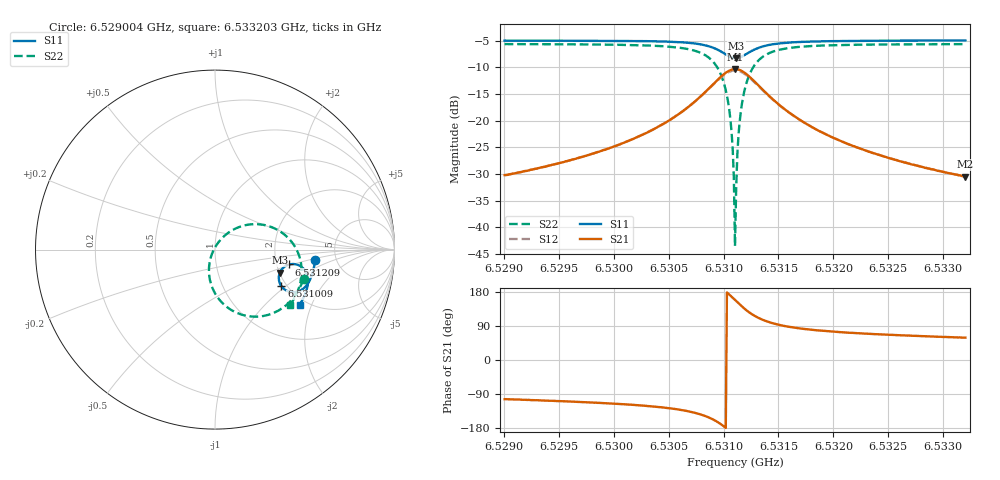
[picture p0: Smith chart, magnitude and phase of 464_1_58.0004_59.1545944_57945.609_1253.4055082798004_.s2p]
#  HZ  S  RI  R  50.00
! Rohde & Schwarz Vector Network Analyzer
! Rohde-Schwarz,ZNB20-2Port,1311601062101988,3.16
! Created: UTC 3/21/2024, 1:11:05 AM
! freq[Hz]  re:S11  im:S11  re:S21  im:S21  re:S12  im:S12  re:S22  im:S22
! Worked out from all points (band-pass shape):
!   401 points, 6.529004 GHz to 6.533203 GHz, reference 50 ohm
!   highest |S21| = -10.38 dB at 6.531104 GHz (marker M1); lowest = -30.5 dB at 6.533203 GHz (marker M2)
!   |S21| within 3 dB of the highest: 6.530895 GHz to 6.531315 GHz (419.3 kHz wide, 0.00642 % of centre)
!   lowest |S11| = -8.3 dB at 6.531114 GHz (marker M3), VSWR 2.24, Z = 101 - j30.2 ohm
!   |S11| at or under -10 dB: nowhere
!   |S22| runs from -43.6 to -5.7 dB; largest |S21 - S12| = 0.012
!   S11 on the Smith chart (normalised r, x): 6.529004 GHz: 3.44, -0.61; 6.531009 GHz: 1.87, -0.93; 6.531209 GHz: 2.34, -0.47; 6.533203 GHz: 1.82, -1.64
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6.5290042e9  0.5576 -0.0604  -0.00713 -0.03  -0.00769 -0.0297  0.494 -0.164
6.5297075e9  0.5473 -0.1186  -0.0163 -0.0425  -0.0173 -0.0422  0.4635 -0.2291
6.5304108e9  0.5189 -0.1877  -0.0497 -0.0728  -0.0515 -0.0716  0.3833 -0.3203
6.5308307e9  0.4488 -0.2367  -0.1557 -0.0986  -0.158 -0.0924  0.1791 -0.3697
6.5309357e9  0.4046 -0.2315  -0.2241 -0.0727  -0.2237 -0.0635  0.062 -0.3164
6.5310091e9  0.3704 -0.2044  -0.2749 -0.0152  -0.2696 -0.00562  -0.0155 -0.2113
6.5310406e9  0.36 -0.1847  -0.2887 0.0228  -0.2808 0.0312  -0.0321 -0.1456
6.5310616e9  0.3563 -0.1691  -0.2921 0.0517  -0.2828 0.0587  -0.0332 -0.0974
6.5310721e9  0.3555 -0.1609  -0.2916 0.0667  -0.282 0.0728  -0.0303 -0.0726
6.5310826e9  0.3557 -0.1526  -0.29 0.0817  -0.2798 0.0871  -0.0248 -0.048
6.5310931e9  0.3567 -0.1442  -0.2864 0.0967  -0.2762 0.1012  -0.0169 -0.0239
6.5311036e9  0.3587 -0.136  -0.2816 0.1115  -0.2712 0.115  -0.00663 -0.000419
6.5311141e9  0.3616 -0.128  -0.2755 0.1257  -0.2648 0.1281  0.00596 0.0218
6.5311246e9  0.3653 -0.1204  -0.2679 0.1389  -0.2574 0.1406  0.0206 0.0426
6.5311351e9  0.3698 -0.1133  -0.259 0.1515  -0.2488 0.1523  0.0373 0.0619
6.5311561e9  0.3807 -0.1011  -0.2384 0.1731  -0.229 0.1723  0.0745 0.0941
6.5312086e9  0.4134 -0.0829  -0.1786 0.2052  -0.172 0.2021  0.1784 0.1379
6.5312821e9  0.456 -0.0833  -0.1038 0.2075  -0.1005 0.2044  0.3045 0.1289
6.531387e9  0.4927 -0.1058  -0.0396 0.1766  -0.038 0.175  0.4098 0.063
6.5318069e9  0.5177 -0.1856  0.0155 0.0851  0.0166 0.0849  0.4829 -0.1283
6.5325103e9  0.4981 -0.257  0.0177 0.0408  0.0184 0.0406  0.4548 -0.245
6.5332031e9  0.4709 -0.3083  0.0154 0.0256  0.016 0.0252  0.4201 -0.3066
